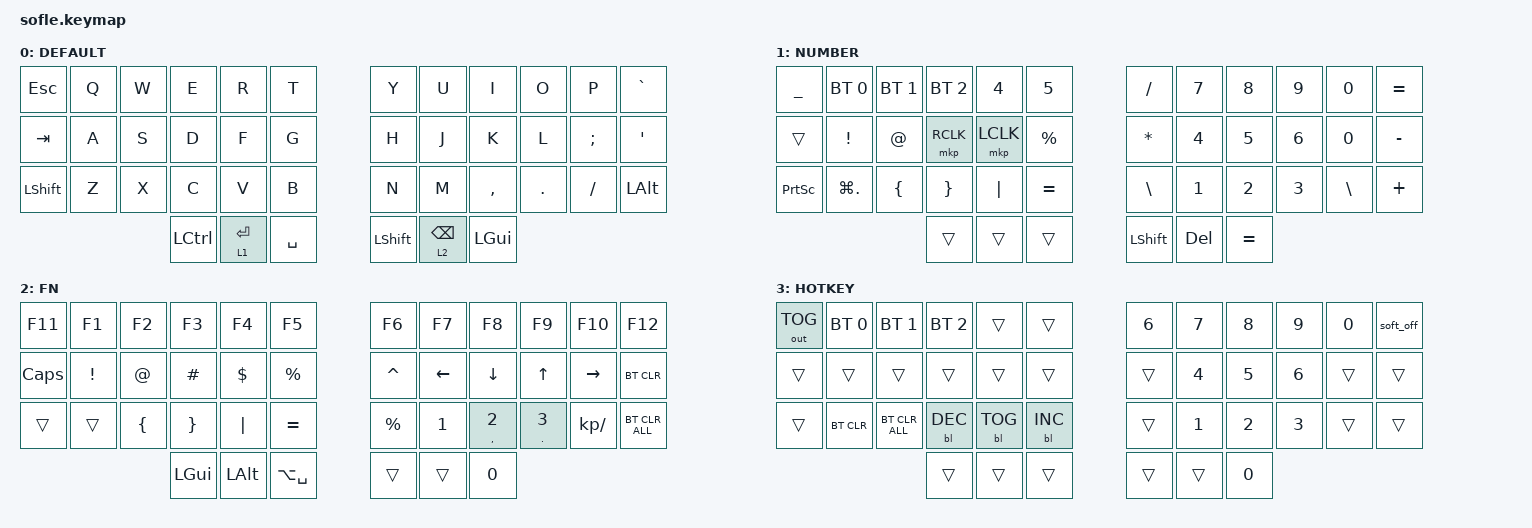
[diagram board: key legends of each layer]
/*
 * Copyright (c) 2023 The ZMK Contributors
 *
 * SPDX-License-Identifier: MIT
 */

#include <behaviors.dtsi>
#include <dt-bindings/zmk/keys.h>
#include <dt-bindings/zmk/bt.h>
#include <dt-bindings/zmk/outputs.h>
#include <dt-bindings/zmk/backlight.h>

#define ZMK_POINTING_DEFAULT_SCRL_VAL 100
#include <dt-bindings/zmk/pointing.h>

// Helpful macros borrowed from AndrewMSHowe
#define ___ &trans

// Layer numbers for use by the keymap & macros

#define DEFAULT 0
#define NUMBER  1
#define FN  2
#define HOTKEY  3



/ {

// === BLOCO TRI-LAYER ADICIONADO AQUI ===
    conditional_layers {
        compatible = "zmk,conditional-layers";
        tri_layer {
            if-layers = <1 2>;
            then-layer = <3>;
        };
    };

    keymap {
        compatible = "zmk,keymap";

        windows_default_layer {
            label = "DEFAULT";
            bindings = <
// ╭───────────────┬───────────────┬───────────────┬───────────────┬───────────────┬───────────────╮                                 ╭───────────────┬───────────────┬───────────────┬───────────────┬───────────────┬───────────────╮
       &kp ESC        &kp Q            &kp W           &kp E           &kp R           &kp T     /*|                                 |*/  &kp Y          &kp U           &kp I           &kp O           &kp P          &kp GRAVE 
       &kp TAB        &kp A            &kp S           &kp D           &kp F           &kp G     /*├─────────────╮     ╭─────────────┤*/  &kp H          &kp J           &kp K           &kp L           &kp SEMI       &kp SQT
       &kp LSHIFT     &kp Z            &kp X           &kp C           &kp V           &kp B                                              &kp N          &kp M           &kp COMMA       &kp DOT         &kp FSLH       &kp LALT
/* ╰───────────────┴───────────────┤*/                                 &kp LCTRL       &lt 1  RETURN  &kp SPACE              &kp LSHIFT   &lt 2 BSPC     &kp LGUI     //├───────────────┴───────────────╯
//                                 ╰───────────────┴───────────────┴───────────────┴───────────────┴─────────────╯     ╰─────────────┴───────────────┴───────────────┴───────────────┴───────────────╯
            >;
        };

 

        windows_symbols_layer {
            label = "NUMBER";
            bindings = <
// ╭───────────────┬───────────────┬───────────────┬───────────────┬───────────────┬───────────────╮                                 ╭───────────────┬───────────────┬───────────────┬───────────────┬───────────────┬───────────────╮
       &kp UNDER       &bt BT_SEL 0    &bt BT_SEL 1    &bt BT_SEL 2    &kp N4          &kp N5    /*|                                 |*/  &kp FSLH       &kp N7          &kp N8          &kp N9          &kp N0          &kp EQUAL
       ___             &kp EXCL        &kp AT          &mkp RCLK       &mkp LCLK       &kp PRCNT /*├─────────────╮     ╭─────────────┤*/  &kp STAR       &kp N4          &kp N5          &kp N6          &kp N0          &kp MINUS
       &kp PSCRN       &kp LG(DOT)     &kp LEFT_BRACE  &kp RIGHT_BRACE &kp PIPE        &kp EQUAL                                          &kp BSLH       &kp N1          &kp N2          &kp N3          &kp BACKSLASH   &kp PLUS
/* ╰───────────────┴───────────────┤*/                                 ___             ___             ___                 &kp LSHIFT     &kp DEL        &kp EQUAL                  //├───────────────┴───────────────╯
//                                 ╰───────────────┴───────────────┴───────────────┴───────────────┴─────────────╯     ╰─────────────┴───────────────┴───────────────┴───────────────┴───────────────╯
            >;
        };

        numpad_layer {
            label = "FN";
            
            bindings = <
// ╭───────────────┬───────────────┬───────────────┬───────────────┬───────────────┬───────────────╮                                 ╭───────────────┬───────────────┬───────────────┬───────────────┬───────────────┬───────────────╮
       &kp F11         &kp F1          &kp F2          &kp F3          &kp F4          &kp F5    /*|                                 |*/  &kp F6         &kp F7          &kp F8          &kp F9          &kp F10          &kp F12 
       &kp CAPSLOCK    &kp EXCL        &kp AT          &kp HASH        &kp DLLR        &kp PRCNT /*├─────────────╮     ╭─────────────┤*/  &kp CARET      &kp LEFT        &kp DOWN        &kp UP          &kp RIGHT        &bt BT_CLR
       ___             ___             &kp LEFT_BRACE  &kp RIGHT_BRACE &kp PIPE        &kp EQUAL                                          &kp PRCNT      &kp N1          &mt COMMA N2    &mt DOT N3      &kp KP_DIVIDE    &bt BT_CLR_ALL
/* ╰───────────────┴───────────────┤*/                                 &kp LGUI        &kp LALT      &kp LA(SPACE)            ___            ___         &kp N0                                    //├───────────────┴───────────────╯
//                                 ╰───────────────┴───────────────┴───────────────┴───────────────┴─────────────╯     ╰─────────────┴───────────────┴───────────────┴───────────────┴───────────────╯
            >;
      };



      settings_layer {
            label = "HOTKEY";
            bindings = <
// ╭───────────────┬───────────────┬───────────────┬───────────────┬───────────────┬────────────────╮                                 ╭───────────────┬───────────────┬───────────────┬───────────────┬───────────────┬───────────────╮
      &out OUT_TOG    &bt BT_SEL 0    &bt BT_SEL 1   &bt BT_SEL 2          ___            ___     /*|                                 |*/   &kp N6         &kp N7          &kp N8          &kp N9          &kp N0          &soft_off
      ___                  ___             ___             ___             ___            ___     /*├─────────────╮     ╭─────────────┤*/   ___            &kp N4          &kp N5          &kp N6          ___             ___
      ___             &bt BT_CLR     &bt BT_CLR_ALL  &bl BL_DEC      &bl BL_TOG      &bl BL_INC                                             ___            &kp N1          &kp N2          &kp N3          ___             ___
/* ╰───────────────┴───────────────┤*/                                    ___              ___         ___                  ___             ___            &kp N0                //├───────────────┴───────────────╯
//                                 ╰───────────────┴───────────────┴───────────────┴────────────────┴─────────────╯     ╰─────────────┴───────────────┴───────────────┴───────────────┴───────────────╯   
            >;
        };

    

    };

};
